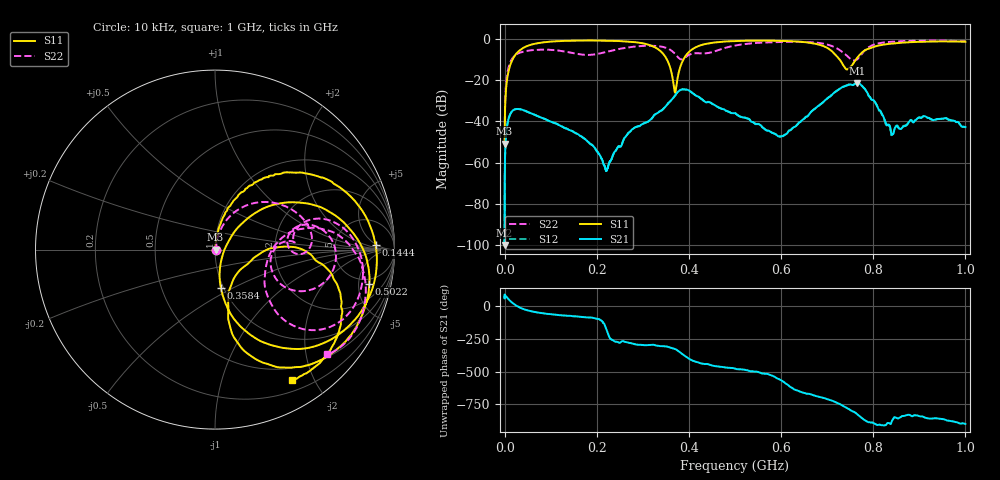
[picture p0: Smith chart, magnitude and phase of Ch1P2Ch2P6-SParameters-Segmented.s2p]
#  HZ  S  DB  R  50.00
! Rohde & Schwarz Vector Network Analyzer
! Rohde-Schwarz,ZNL6-2Port,1323001206101709,1.40.1.1-21.04.2.40
! Created: UTC 3/14/2023, 10:05:00 AM
! freq[Hz]  db:S11  ang:S11  db:S21  ang:S21  db:S12  ang:S12  db:S22  ang:S22
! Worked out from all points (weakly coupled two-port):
!   4997 points, 10 kHz to 1 GHz, reference 50 ohm
!   highest |S21| = -21.55 dB at 765.4 MHz (marker M1); lowest = -99.9 dB at 10.9 kHz (marker M2)
!   lowest |S11| = -50.7 dB at 10 kHz (marker M3), VSWR 1.01, Z = 50.3 + j0.0266 ohm
!   |S11| at or under -10 dB: start of sweep to 17.39 MHz; 352 MHz to 388.3 MHz (36.22 MHz wide, 9.79 % of centre); 726.9 MHz to 762.5 MHz (35.69 MHz wide, 4.79 % of centre)
!   |S22| runs from -45.8 to -0.9 dB; largest |S21 - S12| = 0.003
!   S11 on the Smith chart (normalised r, x): 10 kHz: 1.01, +0.00; 144.4 MHz: 17, +4; 358.4 MHz: 0.97, -0.44; 502.2 MHz: 3.99, -6.77; 1 GHz: 0.33, -1.70
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10000  -50.71 5.2  -98.58 71.8  -97.60 44.8  -45.74 0.9
10900  -50.60 3.0  -99.86 61.1  -100.38 52.6  -45.73 1.2
1010000  -33.95 79.3  -56.10 85.2  -56.45 84.6  -31.45 74.9
1.705552e7  -10.16 67.6  -34.92 26.5  -34.92 25.3  -9.47 50.3
7.12352e7  -2.20 26.6  -37.42 -46.5  -37.43 -47.8  -5.35 12.5
1.443778e8  -0.96 1.5  -44.50 -73.2  -44.46 -74.5  -6.77 -3.0
1.668832e8  -0.88 -4.1  -47.31 -80.6  -47.33 -82.3  -7.66 0.9
2.210629e8  -0.94 -17.4  -63.80 -176.1  -63.60 -178.7  -6.37 15.7
2.70033e8  -1.41 -31.7  -45.32 79.6  -45.37 78.6  -4.16 9.4
3.333815e8  -5.12 -64.7  -35.72 57.7  -35.75 56.6  -3.61 -12.0
3.583875e8  -13.30 -81.3  -30.48 45.1  -30.51 44.3  -5.22 -24.9
3.702654e8  -26.01 -11.9  -27.47 32.4  -27.47 31.4  -7.46 -28.0
4.052738e8  -5.45 29.5  -25.83 -52.0  -25.83 -52.9  -7.36 6.3
5.000882e8  -1.12 -12.0  -36.05 -117.3  -36.03 -118.3  -3.31 12.8
5.021721e8  -1.11 -12.6  -36.35 -120.3  -36.30 -121.4  -3.23 12.3
5.98862e8  -1.04 -36.1  -47.34 155.5  -47.27 153.7  -1.55 -9.9
6.667949e8  -2.13 -57.2  -35.11 41.8  -35.06 41.0  -1.73 -26.9
7.420214e8  -14.88 -45.8  -22.71 -57.7  -22.60 -59.1  -8.06 -41.7
7.653603e8  -9.16 2.1  -21.55 -107.8  -21.56 -109.7  -9.97 -0.2
8.335017e8  -2.51 -20.8  -41.58 -174.3  -42.10 -171.7  -1.58 -8.1
9.108119e8  -1.44 -39.5  -37.48 -131.0  -37.47 -132.6  -0.93 -25.7
1e9  -1.46 -59.5  -42.76 178.2  -42.81 177.2  -1.37 -43.0
